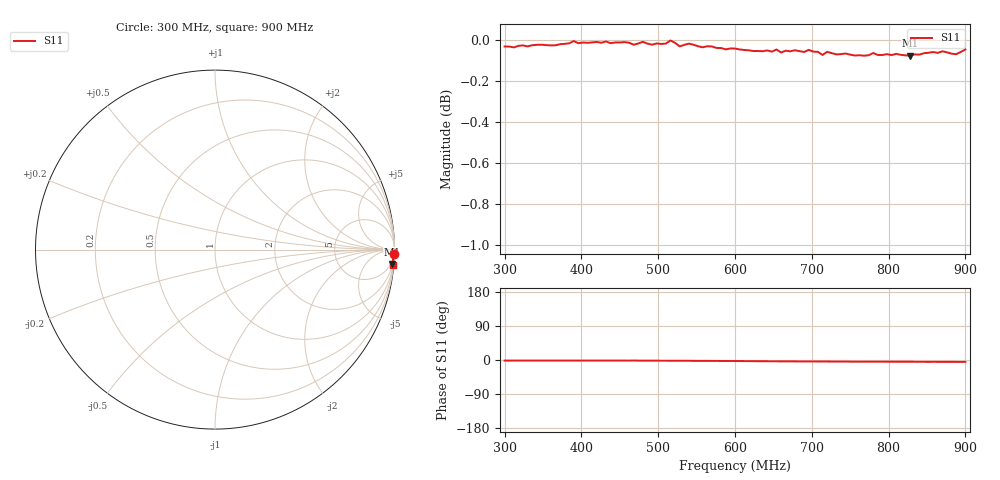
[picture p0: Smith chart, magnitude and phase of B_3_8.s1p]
# HZ S RI R 50
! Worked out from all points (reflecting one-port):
!   101 points, 300 MHz to 900 MHz, reference 50 ohm
!   lowest |S11| = -0.1 dB at 828 MHz (marker M1), VSWR 222.12, Z = 135 - j1.22e+03 ohm
!   phase of S11 starts at -2 deg and turns -3 deg over the sweep
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3e8  0.9959 -0.0267
3.78e8  0.9974 -0.0249
3.9e8  0.9989 -0.0266
4.14e8  0.9982 -0.0254
4.5e8  0.9981 -0.0269
4.62e8  0.9979 -0.028
4.68e8  0.9969 -0.023
4.74e8  0.9975 -0.0285
5.1e8  0.9973 -0.0318
5.16e8  0.999 -0.0338
5.28e8  0.9957 -0.0349
5.4e8  0.9971 -0.0371
6e8  0.9939 -0.0475
6.54e8  0.9927 -0.0605
6.6e8  0.991 -0.0614
6.78e8  0.9921 -0.0645
7.02e8  0.9912 -0.0663
7.14e8  0.989 -0.07
7.2e8  0.9908 -0.07
7.5e8  0.9889 -0.0744
8.1e8  0.989 -0.0789
8.16e8  0.9883 -0.0808
8.28e8  0.9878 -0.0804
8.52e8  0.9892 -0.0844
8.58e8  0.9897 -0.0824
8.82e8  0.9886 -0.0847
8.94e8  0.9893 -0.0881
9e8  0.991 -0.0841
